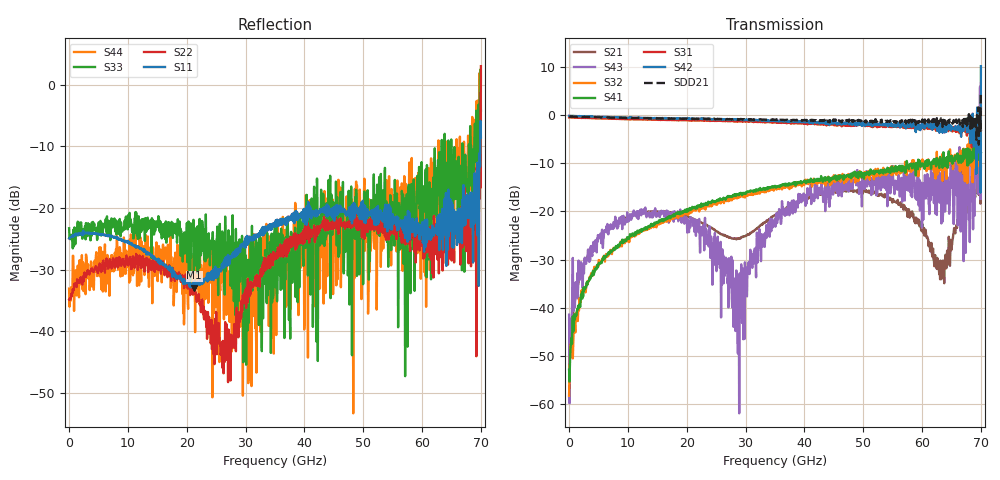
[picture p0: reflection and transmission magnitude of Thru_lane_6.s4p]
!Pstart = -2.000000E+001
!Pstop = -1.000000E+001
!Pstep = 2.564103E-001
! 4/30/2026 1:55:41 PM
! C:\ANRITSUVNA\TEMP\TEMP.S4P
! CHANNEL.1
! TR.MEASUREMENT
! CORRECTED.DATA
! RF.CORRECTION: FULL.FOUR.PORT.CAL.PORT.1.2.3.4
! AVERAGING.OFF
! IF.BANDWIDTH: 100HZ
! SWEEPTYPE:  FREQ.SWEEP(Linear)
! Reference Plane Port Info
! DISTANCE:  0  m  0  m  0  m  0  m
! TIME:  0  s  0  s  0  s  0  s
! PHASE.OFFSET:  0 °  0 °  0 °  0 °
! LOSS:  0  dB  0  dB  0  dB  0  dB
! REF.LOSS:  0  dB  0  dB  0  dB  0  dB
! REF.FREQ:  0  Hz  0  Hz  0  Hz  0  Hz
! Power Info
! POWER:  -20  dBm  -20  dBm  -20  dBm  -20  dBm
! EFF.POWER:  -20  dBm  -20  dBm  -40  dBm  -40  dBm
! SOURCE.ATTEN:  0  dB  0  dB  20  dB  20  dB
! TEST.ATTEN:  0  dB  0  dB  20  dB  20  dB
! Created with skrf 1.9.0 (http://scikit-rf.org).
# Hz S RI R 50.0
!freq ReS11 ImS11 ReS12 ImS12 ReS13 ImS13
! ReS14 ImS14
! ReS21 ImS21 ReS22 ImS22 ReS23 ImS23
! ReS24 ImS24
! ReS31 ImS31 ReS32 ImS32 ReS33 ImS33
! ReS34 ImS34
! ReS41 ImS41 ReS42 ImS42 ReS43 ImS43
! ReS44 ImS44
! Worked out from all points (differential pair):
!   1001 points, 10 MHz to 70 GHz, reference 50 ohm
!   strongest paths, dB at 10 MHz, 17.51 GHz, 35.01 GHz, 52.5 GHz, 70 GHz:
!     S42: -0.2, -0.7, -1.2, -2.0, 10.1
!     S31: -0.5, -1.0, -1.5, -2.2, -3.1
!     S41: -52.8, -21.0, -14.7, -11.7, -7.8
!     S32: -58.2, -21.1, -15.1, -11.1, 1.6
!     S43: -41.4, -20.6, -21.5, -12.4, 2.3
!     S21: -58.3, -20.2, -20.7, -16.4, -10.6
!   taken as a pair (ports 2,1 in; 4,3 out), SDD21 dB: -0.3, -0.7, -1.0, -1.2, 4.9
!   lowest |S11| = -33.0 dB at 21.29 GHz (marker M1), VSWR 1.05, Z = 48.2 - j1.28 ohm
!   |S11| at or under -10 dB: start of sweep to 69.89 GHz
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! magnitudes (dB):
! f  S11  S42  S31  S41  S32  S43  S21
! 10 MHz  -25.0  -0.2  -0.5  -52.8  -58.2  -41.4  -58.3
! 5.119 GHz  -24.3  -0.3  -0.7  -30.7  -30.3  -25.0  -25.5
! 21.29 GHz  -33.0  -0.7  -1.1  -19.1  -19.8  -24.2  -21.6
! 28.57 GHz  -26.8  -0.9  -1.3  -16.6  -17.3  -39.8  -25.6
! 40.74 GHz  -21.1  -1.5  -1.8  -13.9  -14.2  -15.8  -17.2
! 63.42 GHz  -20.2  -2.1  -2.6  -9.7  -8.2  -19.2  -30.4
! 70 GHz  -8.6  10.1  -3.1  -7.8  1.6  2.3  -10.6
